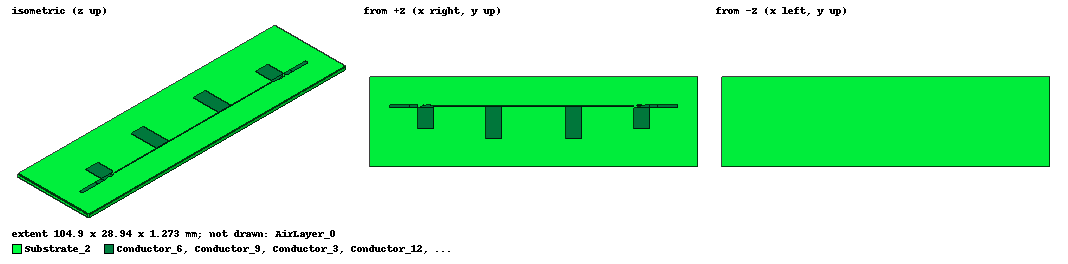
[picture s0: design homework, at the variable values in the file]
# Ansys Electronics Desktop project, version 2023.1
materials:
  vacuum: permittivity=1
  air: permittivity=1.0006 permeability=1.0000004
  FS_Alumina: permittivity=9.8 dielectric_loss_tangent=0.0005
  FS_Gold: conductivity=40559441

design homework (HFSS, HFSS Hybrid Terminal Network, model units mm)
options: Allow_Material_Override Save_Adaptive_support_files
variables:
  Win = 1.2340002mm  # Feedline Width
  W1 = 5.08mm  # Stub Width
  S1 = 6.4531913mm  # Stub Length; optimise 3.226595662495mm..9.679786987485mm; sensitivity 3.226595662495mm..9.679786987485mm; tune 3.226595662495mm..9.679786987485mm
  S2 = 16.90615mm  # Segment Length; optimise 8.4530748313mm..25.3592244939mm; sensitivity 8.4530748313mm..25.3592244939mm; tune 8.4530748313mm..25.3592244939mm
  W2 = 317.5um  # Segment Width
  W3 = 5.08mm  # Stub Width
  S3 = 10.387577mm  # Stub Length; optimise 5.19378846455mm..15.58136539365mm; sensitivity 5.19378846455mm..15.58136539365mm; tune 5.19378846455mm..15.58136539365mm
  S4 = 20.247512mm  # Segment Length; optimise 10.1237558812mm..30.3712676436mm; sensitivity 10.1237558812mm..30.3712676436mm; tune 10.1237558812mm..30.3712676436mm
  W4 = 317.5um  # Segment Width
  segWid_1 = Win  # FeedSegemnt In Width
  segWid_2 = Win  # Segemnt Left Width
  segWid_3 = W2  # Segemnt Width in Y
  segLen_3 = S2  # Segemnt Length in X
  segWid_4 = W4  # Segemnt Width in Y
  segLen_4 = S4  # Segemnt Length in X
  segWid_5 = W2  # Segemnt Width in Y
  segLen_5 = S2  # Segemnt Length in X
  segWid_6 = Win  # Segemnt Left Width
  segWid_7 = Win  # FeedSegemnt In Width
  stubWid_3 = W1  # Stub Left Width
  stubLen_3 = S1  # Stub Left Length
  stubWid_4 = W3  # Stub Left Width
  stubLen_4 = S3  # Stub Left Length
  stubWid_5 = W3  # Stub Left Width
  stubLen_5 = S3  # Stub Left Length
  stubWid_6 = W1  # Stub Left Width
  stubLen_6 = S1  # Stub Left Length
  segMid = -4.9646634mm  # Y Center
  segLen_1 = 6.35mm  # FeedSegemnt In Length
  segLeft_1 = -46.079906mm  # FeedSegemnt X
  segTop_1 = segMid-segWid_1/2.  # FeedSegemnt Y
  segLen_2 = 2.54mm  # Segemnt Left Length
  segLeft_2 = segLeft_1+segLen_1  # Segemnt Left X
  segTop_2 = segMid-segWid_2/2.  # Segemnt Left Y
  segLeft_3 = segLeft_2+segLen_2+W1  # Segemnt Left X
  segTop_3 = segMid-segWid_3/2.  # Segemnt Top Y
  segLeft_4 = segLeft_3+segLen_3+W3  # Segemnt Left X
  segTop_4 = segMid-segWid_4/2.  # Segemnt Top Y
  segLeft_5 = segLeft_4+segLen_4+W3  # Segemnt Left X
  segTop_5 = segMid-segWid_5/2.  # Segemnt Top Y
  segLen_6 = 2.54mm  # Segemnt Left Length
  segLeft_6 = segLeft_5+segLen_5+W1  # Segemnt Left X
  segTop_6 = segMid-segWid_6/2.  # Segemnt Left Y
  segLen_7 = 6.35mm  # FeedSegemnt In Length
  segLeft_7 = segLeft_6+segLen_6  # FeedSegemnt X
  segTop_7 = segTop_6  # FeedSegemnt Y
  stubLeft_3 = segLeft_2+segLen_2  # Stub Left X
  stubTop_3 = max((segTop_2+segWid_2), (segTop_3+segWid_3))  # Stub Left Y
  stubLeft_4 = segLeft_3+segLen_3  # Stub Left X
  stubTop_4 = max((segTop_3+segWid_3), (segTop_4+segWid_4))  # Stub Left Y
  stubLeft_5 = segLeft_4+segLen_4  # Stub Left X
  stubTop_5 = max((segTop_4+segWid_4), (segTop_5+segWid_5))  # Stub Left Y
  stubLeft_6 = segLeft_5+segLen_5  # Stub Left X
  stubTop_6 = max((segTop_5+segWid_5), (segTop_6+segWid_6))  # Stub Left Y
  Port1_X = segLeft_1  # Port 1 X Location
  Port1_Y = segTop_1+(segWid_1)/2.  # Port 1 Y Location
  Port2_X = segLeft_7+segLen_7  # Port 2 X Location
  Port2_Y = segTop_7+(segWid_7)/2.  # Port 2 Y Location
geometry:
  Substrate_2 [FS_Alumina] = box(corner=(-52.429906mm, -14.471664mm, 0mm), size=(104.85981mm, 28.943327mm, 1.27mm))
  AirLayer_0 [Air] = box(corner=(-52.429906mm, -14.471664mm, 0mm), size=(104.85981mm, 28.943327mm, 33.02mm))
  Conductor_1 [FS_Gold] = box(corner=(segLeft_1, -(segTop_1)-(segWid_1), 1.27mm), size=(segLen_1, segWid_1, 2.54um))
  Conductor_2 [FS_Gold] = box(corner=(segLeft_2, -(segTop_2)-(segWid_2), 1.27mm), size=(segLen_2, segWid_2, 2.54um))
  Conductor_3 [FS_Gold] = box(corner=(stubLeft_3, -(stubTop_3+min(stubLen_3,0.))-(abs(stubLen_3)), 1.27mm), size=(stubWid_3, abs(stubLen_3), 2.54um))
  Conductor_4 [FS_Gold] = polyline(z=1.27mm, xy: (stubLeft_3, -(stubTop_3)) (segLeft_3, -(stubTop_3)) (segLeft_3, -(segTop_3)) ((stubLeft_3+segLeft_3)/2., -(segTop_3)) ((stubLeft_3+segLeft_3)/2., -(segTop_2)) (stubLeft_3, -(segTop_2)) (stubLeft_3, -(stubTop_3)), closed, covered)
  Conductor_4.sweep_along_vector((0mm, 0mm, 2.54um))
  Conductor_5 [FS_Gold] = box(corner=(segLeft_3, -(segTop_3)-(segWid_3), 1.27mm), size=(segLen_3, segWid_3, 2.54um))
  Conductor_6 [FS_Gold] = box(corner=(stubLeft_4, -(stubTop_4+min(stubLen_4,0.))-(abs(stubLen_4)), 1.27mm), size=(stubWid_4, abs(stubLen_4), 2.54um))
  Conductor_7 [FS_Gold] = box(corner=(stubLeft_4, -(segTop_4)-(segWid_4), 1.27mm), size=(stubWid_4, segWid_4, 2.54um))
  Conductor_8 [FS_Gold] = box(corner=(segLeft_4, -(segTop_4)-(segWid_4), 1.27mm), size=(segLen_4, segWid_4, 2.54um))
  Conductor_9 [FS_Gold] = box(corner=(stubLeft_5, -(stubTop_5+min(stubLen_5,0.))-(abs(stubLen_5)), 1.27mm), size=(stubWid_5, abs(stubLen_5), 2.54um))
  Conductor_10 [FS_Gold] = box(corner=(stubLeft_5, -(segTop_5)-(segWid_5), 1.27mm), size=(stubWid_5, segWid_5, 2.54um))
  Conductor_11 [FS_Gold] = box(corner=(segLeft_5, -(segTop_5)-(segWid_5), 1.27mm), size=(segLen_5, segWid_5, 2.54um))
  Conductor_12 [FS_Gold] = box(corner=(stubLeft_6, -(stubTop_6+min(stubLen_6,0.))-(abs(stubLen_6)), 1.27mm), size=(stubWid_6, abs(stubLen_6), 2.54um))
  Conductor_13 [FS_Gold] = polyline(z=1.27mm, xy: (stubLeft_6, -(stubTop_6)) (segLeft_6, -(stubTop_6)) (segLeft_6, -(segTop_6)) ((stubLeft_6+segLeft_6)/2., -(segTop_6)) ((stubLeft_6+segLeft_6)/2., -(segTop_5)) (stubLeft_6, -(segTop_5)) (stubLeft_6, -(stubTop_6)), closed, covered)
  Conductor_13.sweep_along_vector((0mm, 0mm, 2.54um))
  Conductor_14 [FS_Gold] = box(corner=(segLeft_6, -(segTop_6)-(segWid_6), 1.27mm), size=(segLen_6, segWid_6, 2.54um))
  Conductor_15 [FS_Gold] = box(corner=(segLeft_7, -(segTop_7)-(segWid_7), 1.27mm), size=(segLen_7, segWid_7, 2.54um))
  PortRectangle_1 = rectangle(corner=(Port1_X, -(Port1_Y)-(Win)/2., 0), y_size=Win, z_size=1.27254mm)
  PortRectangle_2 = rectangle(corner=(Port2_X, -(Port2_Y)-(Win)/2., 0), y_size=Win, z_size=1.27254mm)
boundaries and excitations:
  GND: Perfect E Faces=AirLayer_0.face(-z) InfGroundPlane
  AirLayer_Top: Radiation Faces=AirLayer_0.face(+z)
  Rad_Left: Radiation Faces=AirLayer_0.face(-x)
  Rad_Right: Radiation Faces=AirLayer_0.face(+x)
  Rad_Upper: Radiation Faces=AirLayer_0.face(-y)
  Rad_Lower: Radiation Faces=AirLayer_0.face(+y)
  PortRectangle_1_T1: Terminal port=Port1 Faces=Conductor_1.face(-x) TerminalResistance=50ohm
  PortRectangle_2_T1: Terminal port=Port2 Faces=Conductor_15.face(+x) TerminalResistance=50ohm
  Port1: Lumped Port Faces=PortRectangle_1.face LumpedPortType=Terminal Impedance=50ohm
  Port2: Lumped Port Faces=PortRectangle_2.face LumpedPortType=Terminal Impedance=50ohm
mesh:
  initial mesh: MeshMethod=AnsoftClassic
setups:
  FS_Advanced_Setup: HfssDriven MultipleAdaptiveFreqsSetup{AdaptAt{Frequency=100MHz Delta=0.02} AdaptAt{Frequency=500MHz Delta=0.02} AdaptAt{Frequency=1GHz Delta=0.02}} MaximumPasses=25 MinimumPasses=1 MinimumConvergedPasses=1 PercentRefinement=30 BasisOrder=1 PortAccuracy=1 UseABCOnPort DrivenSolverType="Auto Select Direct/Iterative"
    sweep Sweep: 500MHz to 4GHz, 501 points; Type=Interpolating InterpTolerance=0.5 InterpMaxSolns=250 PassivityErrorTolerance=0.0001
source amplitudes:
  Port1:1: 1V 0deg
  Port2:1: 0V 0deg
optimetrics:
  homework_Optimization: Optimization Optimizer="DX NLPQL" AnalysisStopOptions{StopForNumIteration MaxNumIteration=1000 MinNumIteration=10} CostFuncNormType=L2 Acceptable_Cost=0 Noise=1e-05 UpdateDesignWhenDone
    vary S1: Min=3.2265956625 mm Max=12.90638265 mm MinStep=0.09679787mm MaxStep=0.9679787mm MinFocus=3.2265956625 mm MaxFocus=12.90638265 mm start=6.4531913mm
    vary S2: Min=8.45307483131 mm Max=33.8122993253 mm MinStep=0.25359224mm MaxStep=2.5359224mm MinFocus=8.45307483131 mm MaxFocus=33.8122993253 mm start=16.90615mm
    vary S3: Min=5.19378846457 mm Max=20.7751538583 mm MinStep=0.15581365mm MaxStep=1.5581365mm MinFocus=5.19378846457 mm MaxFocus=20.7751538583 mm start=10.387577mm
    vary S4: Min=10.1237558812 mm Max=40.4950235247 mm MinStep=0.30371268mm MaxStep=3.0371268mm MinFocus=10.1237558812 mm MaxFocus=40.4950235247 mm start=20.247512mm
    goal dB(S(Port1,Port1)) <= -16.4277 weight 1 on FS_Advanced_Setup : Sweep at Freq 500MHz to 1GHz
    goal dB(S(Port2,Port1)) <= -20.1 weight 0.5 on FS_Advanced_Setup : Sweep at Freq 1.389GHz to 1.667GHz
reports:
  homework S Parameters Rectangular Plot: dB(St(PortRectangle_1_T1,PortRectangle_1_T1)), dB(St(PortRectangle_2_T1,PortRectangle_1_T1)) vs Freq on FS_Advanced_Setup : Sweep
